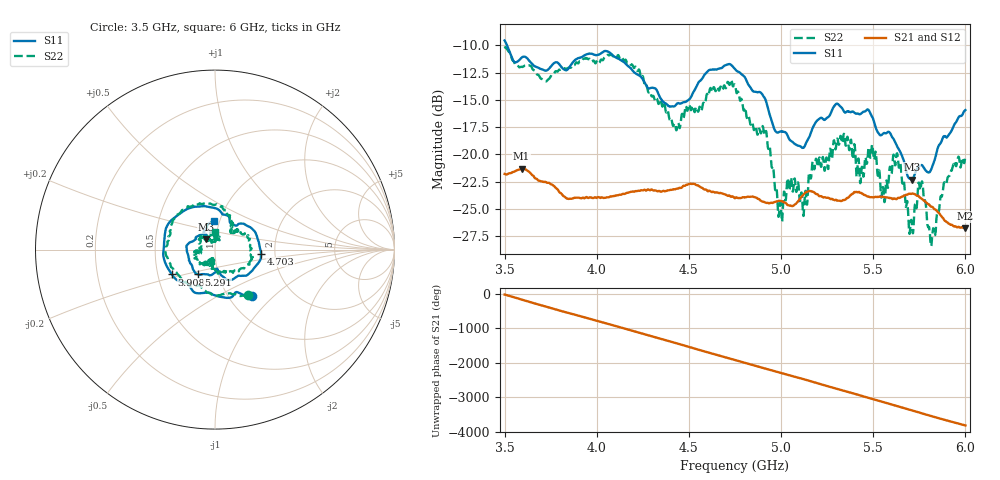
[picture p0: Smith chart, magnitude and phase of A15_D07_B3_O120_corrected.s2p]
! Created with skrf 1.9.0 (http://scikit-rf.org).
# Hz S RI R 50.0
!freq ReS11 ImS11 ReS21 ImS21 ReS12 ImS12 ReS22 ImS22
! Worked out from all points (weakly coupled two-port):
!   1601 points, 3.5 GHz to 6 GHz, reference 50 ohm
!   highest |S21| = -21.31 dB at 3.592 GHz (marker M1); lowest = -26.8 dB at 5.998 GHz (marker M2)
!   lowest |S11| = -22.3 dB at 5.709 GHz (marker M3), VSWR 1.17, Z = 44.9 + j5.24 ohm
!   |S11| at or under -10 dB: 3.513 GHz to end of sweep
!   |S22| runs from -28.4 to -10.1 dB; largest |S21 - S12| = 0.001
!   S11 on the Smith chart (normalised r, x): 3.5 GHz: 1.27, -0.75; 3.908 GHz: 0.59, -0.18; 4.703 GHz: 1.69, -0.08; 5.291 GHz: 0.80, -0.23; 6 GHz: 0.94, +0.31
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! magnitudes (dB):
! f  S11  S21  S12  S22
! 3.5 GHz  -9.5  -21.8  -21.8  -10.1
! 3.592 GHz  -11.1  -21.3  -21.3  -12.0
! 3.908 GHz  -11.1  -24.0  -24.0  -11.4
! 3.917 GHz  -11.1  -24.0  -24.0  -11.5
! 4.127 GHz  -11.3  -23.7  -23.7  -11.2
! 4.334 GHz  -14.4  -23.4  -23.3  -15.4
! 4.441 GHz  -15.3  -23.1  -23.1  -17.2
! 4.703 GHz  -11.8  -23.7  -23.7  -13.8
! 4.75 GHz  -12.2  -24.0  -23.9  -13.6
! 4.911 GHz  -14.8  -24.4  -24.4  -18.2
! 4.995 GHz  -17.9  -24.3  -24.2  -24.4
! 5.045 GHz  -18.6  -24.7  -24.7  -23.3
! 5.13 GHz  -19.2  -23.6  -23.6  -23.6
! 5.167 GHz  -17.7  -23.4  -23.4  -21.3
! 5.291 GHz  -15.5  -24.2  -24.2  -19.1
! 5.584 GHz  -17.9  -24.0  -24.0  -22.3
! 5.638 GHz  -19.5  -24.0  -24.0  -21.1
! 5.709 GHz  -22.3  -23.6  -23.6  -26.4
! 5.756 GHz  -21.0  -24.0  -23.9  -23.3
! 5.823 GHz  -21.0  -24.9  -24.8  -26.9
! 5.998 GHz  -16.0  -26.8  -26.7  -20.3
! 6 GHz  -15.9  -26.8  -26.7  -20.1
